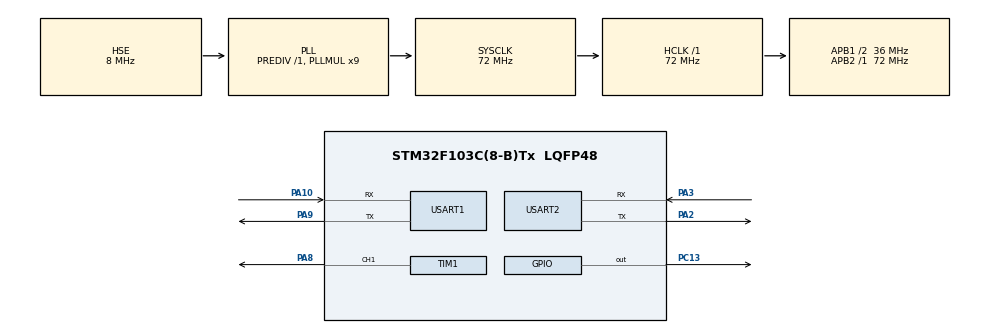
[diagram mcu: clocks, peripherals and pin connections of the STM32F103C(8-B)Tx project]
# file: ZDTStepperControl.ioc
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Dma.Request0=USART1_RX
Dma.Request1=USART1_TX
Dma.Request2=USART2_RX
Dma.Request3=USART2_TX
Dma.USART1_RX.0.Direction=DMA_PERIPH_TO_MEMORY
Dma.USART1_RX.0.Instance=DMA1_Channel5
Dma.USART1_RX.0.MemDataAlignment=DMA_MDATAALIGN_BYTE
Dma.USART1_RX.0.MemInc=DMA_MINC_ENABLE
Dma.USART1_RX.0.Mode=DMA_NORMAL
Dma.USART1_RX.0.PeriphDataAlignment=DMA_PDATAALIGN_BYTE
Dma.USART1_RX.0.PeriphInc=DMA_PINC_DISABLE
Dma.USART1_RX.0.Priority=DMA_PRIORITY_LOW
Dma.USART1_TX.1.Direction=DMA_MEMORY_TO_PERIPH
Dma.USART1_TX.1.Instance=DMA1_Channel4
Dma.USART1_TX.1.MemDataAlignment=DMA_MDATAALIGN_BYTE
Dma.USART1_TX.1.MemInc=DMA_MINC_ENABLE
Dma.USART1_TX.1.Mode=DMA_NORMAL
Dma.USART1_TX.1.PeriphDataAlignment=DMA_PDATAALIGN_BYTE
Dma.USART1_TX.1.PeriphInc=DMA_PINC_DISABLE
Dma.USART1_TX.1.Priority=DMA_PRIORITY_LOW
Dma.USART2_RX.2.Direction=DMA_PERIPH_TO_MEMORY
Dma.USART2_RX.2.Instance=DMA1_Channel6
Dma.USART2_RX.2.MemDataAlignment=DMA_MDATAALIGN_BYTE
Dma.USART2_RX.2.MemInc=DMA_MINC_ENABLE
Dma.USART2_RX.2.Mode=DMA_NORMAL
Dma.USART2_RX.2.PeriphDataAlignment=DMA_PDATAALIGN_BYTE
Dma.USART2_RX.2.PeriphInc=DMA_PINC_DISABLE
Dma.USART2_RX.2.Priority=DMA_PRIORITY_LOW
Dma.USART2_TX.3.Direction=DMA_MEMORY_TO_PERIPH
Dma.USART2_TX.3.Instance=DMA1_Channel7
Dma.USART2_TX.3.MemDataAlignment=DMA_MDATAALIGN_BYTE
Dma.USART2_TX.3.MemInc=DMA_MINC_ENABLE
Dma.USART2_TX.3.Mode=DMA_NORMAL
Dma.USART2_TX.3.PeriphDataAlignment=DMA_PDATAALIGN_BYTE
Dma.USART2_TX.3.PeriphInc=DMA_PINC_DISABLE
Dma.USART2_TX.3.Priority=DMA_PRIORITY_LOW
FREERTOS.Tasks01=defaultTask,24,128,StartDefaultTask,Default,NULL,Dynamic,NULL,NULL
Mcu.Family=STM32F1
Mcu.Name=STM32F103C(8-B)Tx
Mcu.Package=LQFP48
NVIC.DMA1_Channel4_IRQn=true\:5\:0\:false\:false\:true\:true\:false\:true\:true
NVIC.DMA1_Channel5_IRQn=true\:5\:0\:false\:false\:true\:true\:false\:true\:true
NVIC.DMA1_Channel6_IRQn=true\:5\:0\:false\:false\:true\:true\:false\:true\:true
NVIC.DMA1_Channel7_IRQn=true\:5\:0\:false\:false\:true\:true\:false\:true\:true
NVIC.PriorityGroup=NVIC_PRIORITYGROUP_4
NVIC.USART1_IRQn=true\:5\:0\:false\:false\:true\:true\:false\:true\:true
NVIC.USART2_IRQn=true\:5\:0\:false\:false\:true\:true\:false\:true\:true
PA10.Mode=Asynchronous
PA10.Signal=USART1_RX
PA13.Mode=Serial_Wire
PA13.Signal=SYS_JTMS-SWDIO
PA14.Mode=Serial_Wire
PA14.Signal=SYS_JTCK-SWCLK
PA2.Mode=Asynchronous
PA2.Signal=USART2_TX
PA3.Mode=Asynchronous
PA3.Signal=USART2_RX
PA8.Signal=S_TIM1_CH1
PA9.Mode=Asynchronous
PA9.Signal=USART1_TX
PC13-TAMPER-RTC.Signal=GPIO_Output
PD0-OSC_IN.Mode=HSE-External-Oscillator
PD0-OSC_IN.Signal=RCC_OSC_IN
PD1-OSC_OUT.Mode=HSE-External-Oscillator
PD1-OSC_OUT.Signal=RCC_OSC_OUT
ProjectManager.HeapSize=0x200
ProjectManager.StackSize=0x400
ProjectManager.TargetToolchain=MDK-ARM V5.32
RCC.AHBFreq_Value=72000000
RCC.APB1CLKDivider=RCC_HCLK_DIV2
RCC.APB1Freq_Value=36000000
RCC.APB1TimFreq_Value=72000000
RCC.APB2Freq_Value=72000000
RCC.APB2TimFreq_Value=72000000
RCC.HCLKFreq_Value=72000000
RCC.PLLMUL=RCC_PLL_MUL9
RCC.PLLSourceVirtual=RCC_PLLSOURCE_HSE
RCC.SYSCLKFreq_VALUE=72000000
RCC.SYSCLKSource=RCC_SYSCLKSOURCE_PLLCLK
RCC.USBFreq_Value=72000000
SH.S_TIM1_CH1.0=TIM1_CH1,PWM Generation1 CH1
TIM1.Channel-PWM\ Generation1\ CH1=TIM_CHANNEL_1
USART1.VirtualMode=VM_ASYNC
USART2.VirtualMode=VM_ASYNC
VP_FREERTOS_VS_CMSIS_V2.Mode=CMSIS_V2
board=custom

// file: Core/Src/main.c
/* USER CODE BEGIN Header */
/**
 ******************************************************************************
 * @file           : main.c
 * @brief          : Main program body
 ******************************************************************************
 * @attention
 *
 * Copyright (c) 2024 STMicroelectronics.
 * All rights reserved.
 *
 * This software is licensed under terms that can be found in the LICENSE file
 * in the root directory of this software component.
 * If no LICENSE file comes with this software, it is provided AS-IS.
 *
 ******************************************************************************
 */
/* USER CODE END Header */
#include "main.h"
#include "cmsis_os.h"
#include "dma.h"
#include "tim.h"
#include "usart.h"
#include "gpio.h"

/* USER CODE BEGIN Includes */
#include "ZDT_Stepper.h"
/* USER CODE END Includes */

/* USER CODE BEGIN PV */
// 硬件串口重定向函�?
int fputc(int ch, FILE *f)
{
  HAL_UART_Transmit(&huart1, (uint8_t *)&ch, 1, HAL_MAX_DELAY);
  // HAL_UART_Transmit_DMA(&huart1, (uint8_t*)&ch, 1);
  return ch;
}

/*
串口接收中断回调函数
*/
uint8_t Rx_data[200] = {0};

char received_string[256];
extern DMA_HandleTypeDef hdma_usart1_rx;

void HAL_UARTEx_RxEventCallback(UART_HandleTypeDef *huart, uint16_t Size)
{
  if (huart == &huart1)
  {
    ZDT_Stepper_Enable(1, Disable, SYNC_DISABLE);

    // HAL_UART_Transmit(&huart1, Rx_data, Size, HAL_MAX_DELAY);
    HAL_UART_Transmit(&huart2, Rx_data, Size, HAL_MAX_DELAY);
    strcpy(received_string, (char *)Rx_data);
    // fprintf(stdout, "%s\r\n", received_string); // 将串�?1接收到的数据返回到串�?1
    memset(Rx_data, 0, sizeof(Rx_data));
    HAL_UARTEx_ReceiveToIdle_DMA(huart, Rx_data, sizeof(Rx_data) - 1);
    __HAL_DMA_DISABLE_IT(&hdma_usart1_rx, DMA_IT_HT);
  }
  else if (huart == &huart2)
  {
    ZDT_Stepper_USRT_RX_callback(Size);
  }
}
/* USER CODE END PV */

void SystemClock_Config(void);
void MX_FREERTOS_Init(void);

int main(void)
{

  /* MCU Configuration--------------------------------------------------------*/

  /* Reset of all peripherals, Initializes the Flash interface and the Systick. */
  HAL_Init();

  /* Configure the system clock */
  SystemClock_Config();

  /* Initialize all configured peripherals */
  MX_GPIO_Init();
  MX_DMA_Init();
  MX_USART1_UART_Init();
  MX_USART2_UART_Init();
  MX_TIM1_Init();
  /* USER CODE BEGIN 2 */
  HAL_UARTEx_ReceiveToIdle_DMA(&huart1, Rx_data, 200 - 1);
  __HAL_DMA_DISABLE_IT(&hdma_usart1_rx, DMA_IT_HT);
  ZDT_Stepper_init();
  /* USER CODE END 2 */

  /* Init scheduler */
  osKernelInitialize();

  /* Call init function for freertos objects (in cmsis_os2.c) */
  MX_FREERTOS_Init();

  /* Start scheduler */
  osKernelStart();

  /* We should never get here as control is now taken by the scheduler */

  /* Infinite loop */
  while (1)
  {

  }
}

void SystemClock_Config(void)
{
  RCC_OscInitTypeDef RCC_OscInitStruct = {0};
  RCC_ClkInitTypeDef RCC_ClkInitStruct = {0};

  /** Initializes the RCC Oscillators according to the specified parameters
   * in the RCC_OscInitTypeDef structure.
   */
  RCC_OscInitStruct.OscillatorType = RCC_OSCILLATORTYPE_HSE;
  RCC_OscInitStruct.HSEState = RCC_HSE_ON;
  RCC_OscInitStruct.HSEPredivValue = RCC_HSE_PREDIV_DIV1;
  RCC_OscInitStruct.HSIState = RCC_HSI_ON;
  RCC_OscInitStruct.PLL.PLLState = RCC_PLL_ON;
  RCC_OscInitStruct.PLL.PLLSource = RCC_PLLSOURCE_HSE;
  RCC_OscInitStruct.PLL.PLLMUL = RCC_PLL_MUL9;
  if (HAL_RCC_OscConfig(&RCC_OscInitStruct) != HAL_OK)
  {
    Error_Handler();
  }

  /** Initializes the CPU, AHB and APB buses clocks
   */
  RCC_ClkInitStruct.ClockType = RCC_CLOCKTYPE_HCLK | RCC_CLOCKTYPE_SYSCLK | RCC_CLOCKTYPE_PCLK1 | RCC_CLOCKTYPE_PCLK2;
  RCC_ClkInitStruct.SYSCLKSource = RCC_SYSCLKSOURCE_PLLCLK;
  RCC_ClkInitStruct.AHBCLKDivider = RCC_SYSCLK_DIV1;
  RCC_ClkInitStruct.APB1CLKDivider = RCC_HCLK_DIV2;
  RCC_ClkInitStruct.APB2CLKDivider = RCC_HCLK_DIV1;

  if (HAL_RCC_ClockConfig(&RCC_ClkInitStruct, FLASH_LATENCY_2) != HAL_OK)
  {
    Error_Handler();
  }
}

void Error_Handler(void)
{
  __disable_irq();
  while (1)
  {
  }
}

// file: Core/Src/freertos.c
/* USER CODE BEGIN Header */
/**
 ******************************************************************************
 * File Name          : freertos.c
 * Description        : Code for freertos applications
 ******************************************************************************
 * @attention
 *
 * Copyright (c) 2024 STMicroelectronics.
 * All rights reserved.
 *
 * This software is licensed under terms that can be found in the LICENSE file
 * in the root directory of this software component.
 * If no LICENSE file comes with this software, it is provided AS-IS.
 *
 ******************************************************************************
 */
/* USER CODE END Header */

#include "FreeRTOS.h"
#include "task.h"
#include "main.h"
#include "cmsis_os.h"

/* USER CODE BEGIN Includes */
#include "ZDT_Stepper.h"
/* USER CODE END Includes */

/* Definitions for defaultTask */
osThreadId_t defaultTaskHandle;
const osThreadAttr_t defaultTask_attributes = {
    .name = "defaultTask",
    .stack_size = 128 * 4,
    .priority = (osPriority_t)osPriorityNormal,
};

void StartDefaultTask(void *argument);

void MX_FREERTOS_Init(void); /* (MISRA C 2004 rule 8.1) */

void MX_FREERTOS_Init(void)
{

  /* Create the thread(s) */
  /* creation of defaultTask */
  defaultTaskHandle = osThreadNew(StartDefaultTask, NULL, &defaultTask_attributes);

}

void StartDefaultTask(void *argument)
{
  /* USER CODE BEGIN StartDefaultTask */
  osDelay(500);
  uint8_t delay_time = 5;
  ZDT_Stepper_Read_version(1);
  osDelay(delay_time);
  ZDT_Stepper_Read_version(2);
  osDelay(delay_time);
  ZDT_Stepper_Read_version(3);
  osDelay(delay_time);
  ZDT_Stepper_Read_version(4);
  osDelay(delay_time);
  ZDT_Stepper_stop(0, SYNC_DISABLE);

  // ZDT_Stepper_Read_resistance_and_inductance(1);
  // osDelay(delay_time);
  // ZDT_Stepper_Read_bus_voltage(1);
  // osDelay(delay_time);
  // ZDT_Stepper_Read_bus_average_current(1);
  // osDelay(delay_time);
  // ZDT_Stepper_Read_phase_current(1);
  // osDelay(delay_time);
  // ZDT_Stepper_Read_encoder_raw_value(1);
  // osDelay(delay_time);
  // ZDT_Stepper_Read_encoder_calibrated_value(1);
  // osDelay(delay_time);
  // ZDT_Stepper_Set_T_position(1, CW, 200, 200, 200, 120, REL_POS_MODE, SYNC_DISABLE);
  // osDelay(delay_time);
  // ZDT_Stepper_Read_target_position(1);
  // osDelay(delay_time);
  // ZDT_Stepper_Read_current_speed(1);
  // osDelay(delay_time);
  // ZDT_Stepper_Read_current_position(1);
  // osDelay(delay_time);
  // ZDT_Stepper_Read_position_error(1);
  // osDelay(delay_time);
  // ZDT_Stepper_Read_driver_temperature(1);
  // osDelay(delay_time);
  // ZDT_Stepper_Read_motor_status_flags(1);
  // ZDT_Stepper_trigger_encoder_calibration(1);
  /* Infinite loop */
  for (;;)
  {
    HAL_GPIO_TogglePin(GPIOC, GPIO_PIN_13);
    // 加速部分
    osDelay(delay_time);

    // ZDT_Stepper_Set_T_position(1, CW, 200, 200, 200, 120, REL_POS_MODE, SYNC_ENABLE);
    // osDelay(delay_time);
    // ZDT_Stepper_Set_T_position(2, CW, 200, 200, 200, 120, REL_POS_MODE, SYNC_ENABLE);
    // osDelay(delay_time);
    // ZDT_Stepper_Set_T_position(3, CW, 200, 200, 200, 120, REL_POS_MODE, SYNC_ENABLE);
    // osDelay(delay_time);
    // ZDT_Stepper_Set_T_position(4, CW, 200, 200, 200, 120, REL_POS_MODE, SYNC_ENABLE);
    // osDelay(1000);
    // ZDT_Stepper_start_sync_motion(0);
    // osDelay(2000);
    ZDT_Stepper_stop(0, SYNC_DISABLE); // 立即停止
    // ZDT_Stepper_Set_Speed(0, CW, 200, 600, SYNC_DISABLE);

    // ZDT_Stepper_Set_Speed(1, CW, 200, 600, SYNC_DISABLE);
    // ZDT_Stepper_torque_control(1, CW, 200, 100, SYNC_DISABLE);

    // ZDT_Stepper_Set_T_position(1, CW, 200, 200, 200, 120, ABS_POS_MODE, SYNC_DISABLE);
    // osDelay(2000);
    // HAL_GPIO_TogglePin(GPIOC, GPIO_PIN_13);
    // ZDT_Stepper_Set_T_position(1, CCW, 200, 200, 200, 360 * 2, ABS_POS_MODE, SYNC_DISABLE);
    // ZDT_Stepper_stop(1, SYNC_DISABLE);
    // ZDT_Stepper_Set_Speed(1, CCW, 200, 600, SYNC_DISABLE);
    // osDelay(2000);
    // printf("Hello from defaultTask\n");
    // osDelay(20);
    osDelay(1);
  }
  /* USER CODE END StartDefaultTask */
}
